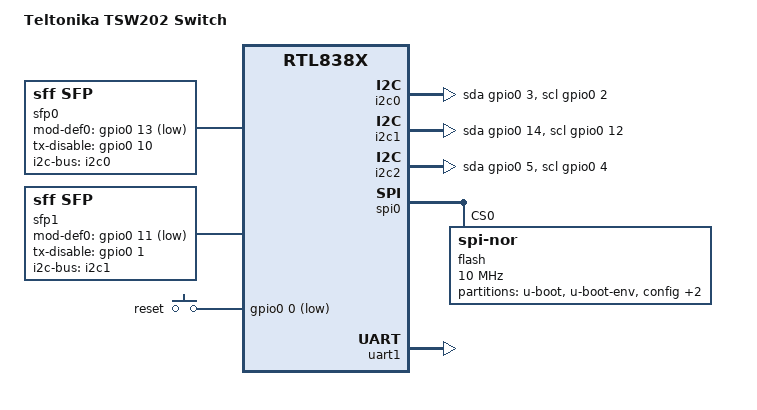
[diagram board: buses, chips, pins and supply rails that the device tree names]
// SPDX-License-Identifier: GPL-2.0-or-later
#include "rtl8380_teltonika_tsw.dtsi"
#include <dt-bindings/interrupt-controller/irq.h>

/ {
	compatible = "teltonika,tsw202", "realtek,rtl838x-soc";
	model = "Teltonika TSW202 Switch";

	/* i2c of the left SFP cage: port 9 */
	i2c0: i2c-gpio-0 {
		compatible = "i2c-gpio";
		sda-gpios = <&gpio0 3 (GPIO_ACTIVE_HIGH | GPIO_OPEN_DRAIN)>;
		scl-gpios = <&gpio0 2 (GPIO_ACTIVE_HIGH | GPIO_OPEN_DRAIN)>;
		i2c-gpio,delay-us = <2>;
		#address-cells = <1>;
		#size-cells = <0>;
	};

	sfp0: sfp-p9 {
		compatible = "sff,sfp";
		i2c-bus = <&i2c0>;
		mod-def0-gpio = <&gpio0 13 GPIO_ACTIVE_LOW>;
		tx-disable-gpio =  <&gpio0 10 GPIO_ACTIVE_HIGH>;
	};

	/* i2c of the right SFP cage: port 10 */
	i2c1: i2c-gpio-1 {
		compatible = "i2c-gpio";
		sda-gpios = <&gpio0 14 (GPIO_ACTIVE_HIGH | GPIO_OPEN_DRAIN)>;
		scl-gpios = <&gpio0 12 (GPIO_ACTIVE_HIGH | GPIO_OPEN_DRAIN)>;
		i2c-gpio,delay-us = <2>;
		#address-cells = <1>;
		#size-cells = <0>;
	};

	sfp1: sfp-p10 {
		compatible = "sff,sfp";
		i2c-bus = <&i2c1>;
		mod-def0-gpio = <&gpio0 11 GPIO_ACTIVE_LOW>;
		tx-disable-gpio = <&gpio0 1 GPIO_ACTIVE_HIGH>;
	};

	/* i2c for poe */
	i2c2: i2c-gpio-2 {
		compatible = "i2c-gpio";
		sda-gpios = <&gpio0 5 (GPIO_ACTIVE_HIGH | GPIO_OPEN_DRAIN)>;
		scl-gpios = <&gpio0 4 (GPIO_ACTIVE_HIGH | GPIO_OPEN_DRAIN)>;
		i2c-gpio,delay-us = <2>;
		#address-cells = <1>;
		#size-cells = <0>;
	};

	port_leds {
		compatible = "leds-tlt-tsw";

		cfg = /* addr value mask */
			<0x1004 0x00000000 0x00000003>,
			<0xa000 0x0000001b 0x000001bf>,
			<0xa004 0x000000e0 0x0fffffff>,
			<0xa008 0x0f00ff00 0x0fffffff>,
			<0xa010 0x0500ff00 0x0fffffff>,
			<0xa014 0x0800ff00 0x0fffffff>,
			<0xa018 0x00000000 0x0fffffff>;

		rtl-used = <0x0500ff00 0x00800ff0 0x00000000>;
		rtl-visible = <0x0500ff00 0x00000ff0 0x00000000>;
		rtl-green = <0x00000000 0x00000ff0 0x00000000>;
		rtl-except = <0x00000000 0x00800000 0x00000000>;
		except-55 = "green:profinet";
	};

	leds {
		pinctrl-names = "default";
		pinctrl-0 = <&pinmux_disable_sys_led>;
		compatible = "gpio-leds";
	};

	keys {
		compatible = "gpio-keys-polled";
		poll-interval = <20>;

		reset {
			label = "reset";
			gpios = <&gpio0 0 GPIO_ACTIVE_LOW>;
			linux,code = <KEY_RESTART>;
		};
	};
};

&spi0 {
	status = "okay";

	flash@0 {
		compatible = "jedec,spi-nor";
		reg = <0>;
		spi-max-frequency = <10000000>;

		partitions {
			compatible = "fixed-partitions";
			#address-cells = <1>;
			#size-cells = <1>;

			boot: partition@0 {
				label = "u-boot";
				reg = <0x0 0x80000>;
				read-only;
			};

			partition@80000 {
				label = "u-boot-env";
				reg = <0x80000 0x10000>;
				read-only;
			};

			config: partition@90000 {
				compatible = "nvmem-cells";
				label = "config";
				reg = <0x90000 0x10000>;
				#address-cells = <1>;
				#size-cells = <1>;
				read-only;

				macaddr_config_0: macaddr@0 {
					reg = <0x0 0x6>;
				};
			};

			partition@a00000 {
				label = "firmware";
				reg = <0xa0000 0xed0000>;
				compatible = "denx,uimage";
			};

			partition@f70000 {
				label = "event-log";
				reg = <0xf70000 0x90000>;
			};
		};
	};
};

&uart1 {
	status = "okay";
};

&ethernet0 {
	nvmem-cells = <&macaddr_config_0>;
	nvmem-cell-names = "mac-address";
};

&mdio_bus0 {
	INTERNAL_PHY(8)
	INTERNAL_PHY(9)
	INTERNAL_PHY(10)
	INTERNAL_PHY(11)
	INTERNAL_PHY(12)
	INTERNAL_PHY(13)
	INTERNAL_PHY(14)
	INTERNAL_PHY(15)
};

&switch0 {
	ports {

		SWITCH_PORT(8, 1, internal)
		SWITCH_PORT(9, 2, internal)
		SWITCH_PORT(10, 3, internal)
		SWITCH_PORT(11, 4, internal)
		SWITCH_PORT(12, 5, internal)
		SWITCH_PORT(13, 6, internal)
		SWITCH_PORT(14, 7, internal)
		SWITCH_PORT(15, 8, internal)

		port@24 {
			reg = <24>;
			label = "lan9";
			pcs-handle = <&serdes4>;
			phy-mode = "1000base-x";
			managed = "in-band-status";
			sfp = <&sfp0>;
		};

		port@26 {
			reg = <26>;
			label = "lan10";
			pcs-handle = <&serdes5>;
			phy-mode = "1000base-x";
			managed = "in-band-status";
			sfp = <&sfp1>;
		};
	};
};
